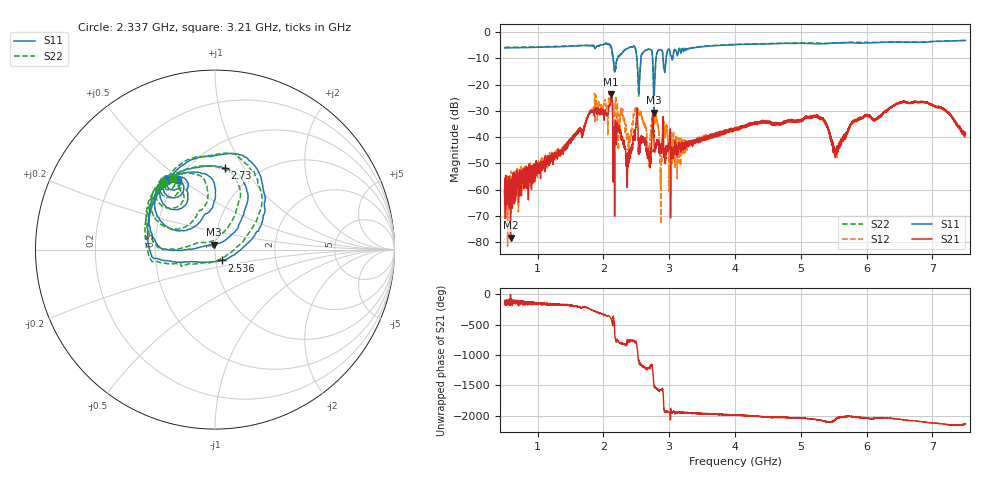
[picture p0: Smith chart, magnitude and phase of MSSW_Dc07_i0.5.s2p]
!Keysight Technologies,M9374A,MY55442783,A.12.55.05
!Date: Thursday, May 20, 2021 15:19:14
!Correction: S11(Full 2 Port(1,2))
!S21(Full 2 Port(1,2))
!S12(Full 2 Port(1,2))
!S22(Full 2 Port(1,2))
!S2P File: Measurements: S11, S21, S12, S22:
# Hz S  RI  R 50
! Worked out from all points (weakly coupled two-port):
!   7001 points, 500 MHz to 7.5 GHz, reference 50 ohm
!   highest |S21| = -23.73 dB at 2.121 GHz (marker M1); lowest = -78.4 dB at 590 MHz (marker M2)
!   lowest |S11| = -30.7 dB at 2.767 GHz (marker M3), VSWR 1.06, Z = 49.2 + j2.78 ohm
!   |S11| at or under -10 dB: 2.15 GHz to 2.218 GHz (67.11 MHz wide, 3.07 % of centre); 2.509 GHz to 2.571 GHz (61.76 MHz wide, 2.43 % of centre); 2.748 GHz to 2.799 GHz (50.96 MHz wide, 1.84 % of centre) (the widest 3 of 5)
!   |S22| runs from -26.1 to -3.2 dB; largest |S21 - S12| = 0.058
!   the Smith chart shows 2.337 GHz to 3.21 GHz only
!   S11 on the Smith chart (normalised r, x): 2.337 GHz: 0.45, +0.44; 2.536 GHz: 1.07, -0.13; 2.73 GHz: 0.72, +0.83; 3.21 GHz: 0.50, +0.48
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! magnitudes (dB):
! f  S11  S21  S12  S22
! 500 MHz  -6.0  -60.5  -61.9  -5.8
! 590 MHz  -6.0  -78.4  -56.0  -5.7
! 1.667 GHz  -5.1  -38.5  -37.5  -5.0
! 2.121 GHz  -5.7  -23.7  -23.9  -6.3
! 2.337 GHz  -6.6  -44.4  -36.7  -6.5
! 2.47 GHz  -5.2  -38.2  -30.8  -5.3
! 2.536 GHz  -22.8  -45.5  -30.7  -24.4
! 2.682 GHz  -6.5  -46.8  -48.1  -6.4
! 2.73 GHz  -6.8  -44.8  -35.1  -6.7
! 2.767 GHz  -30.7  -39.5  -32.2  -25.4
! 2.834 GHz  -7.0  -41.4  -36.3  -6.8
! 2.876 GHz  -6.7  -44.3  -53.6  -6.5
! 2.937 GHz  -14.9  -47.7  -36.8  -14.0
! 3.017 GHz  -8.4  -39.6  -40.9  -8.0
! 3.21 GHz  -7.2  -44.0  -44.9  -6.8
! 4 GHz  -4.7  -37.1  -36.9  -4.7
! 5.167 GHz  -4.3  -32.4  -32.6  -4.1
! 5.531 GHz  -4.1  -46.4  -46.9  -4.0
! 5.799 GHz  -4.0  -34.3  -33.6  -3.8
! 6.334 GHz  -3.8  -29.3  -29.7  -3.7
! 6.913 GHz  -3.8  -26.7  -26.7  -3.7
! 7.5 GHz  -3.1  -38.2  -39.2  -3.2
